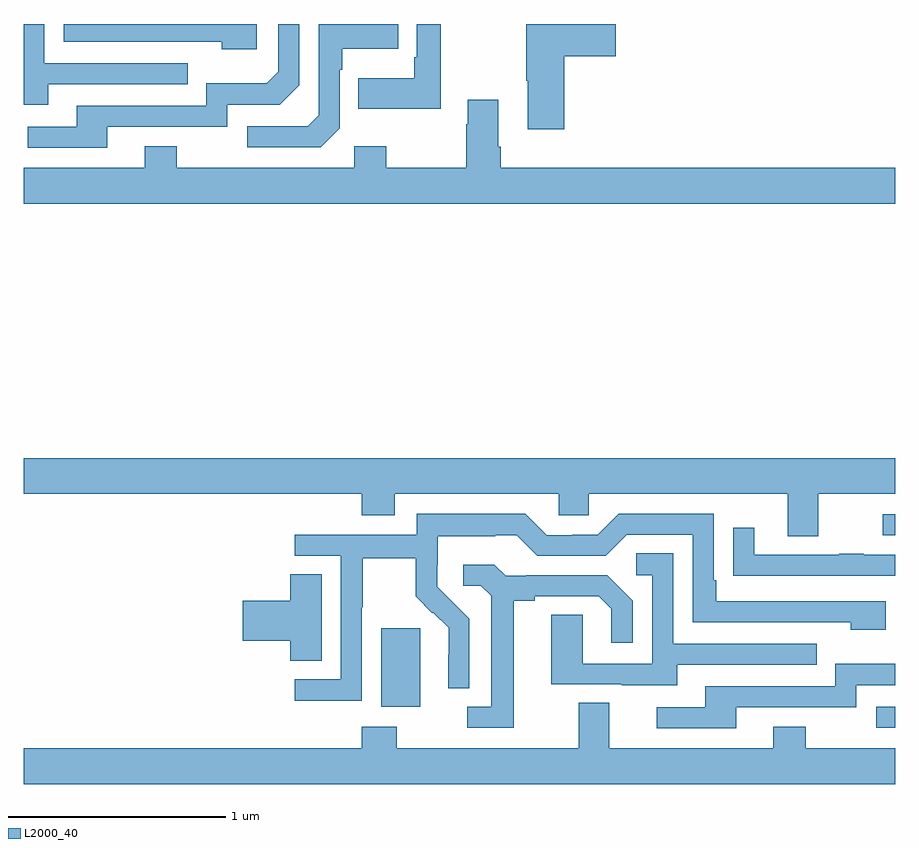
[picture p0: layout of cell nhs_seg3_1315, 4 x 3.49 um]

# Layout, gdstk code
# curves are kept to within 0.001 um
import gdstk
lib = gdstk.Library(unit=1e-6, precision=1e-09)
def R(c, l, rs):  # rectangles x0, y0, x1, y1
    for r in rs: c.add(gdstk.rectangle(r[:2], r[2:], *l))
def P(c, l, *ps):  # polygons
    for p in ps: c.add(gdstk.Polygon(p, *l))
L2000_40 = (2000, 40)

nhs_seg3_1315 = lib.new_cell('nhs_seg3_1315')
R(nhs_seg3_1315, L2000_40, [(182.913,705.171,183,705.267), (180.641,705.266,180.82,705.627), (182.943,706.053,183,706.149)])
P(nhs_seg3_1315, L2000_40, [(179.113,708.123),(179.753,708.123),(179.753,708.219),(179.094,708.219),(179.094,708.4),(179,708.4),(179,708.029),(179.113,708.029)],
  [(180.913,708.4),(180.804,708.4),(180.804,708.247),(180.792,708.247),(180.792,708.151),(180.535,708.151),(180.535,708.011),(180.913,708.011)],
  [(179.383,707.928),(179.934,707.928),(179.934,708.03),(180.174,708.03),(180.264,708.12),(180.264,708.4),(180.168,708.4),(180.168,708.18),(180.115,708.127),(179.838,708.127),(179.838,708.024),(179.243,708.024),(179.243,707.928),(179.019,707.928),(179.019,707.832),(179.383,707.832)],
  [(181.481,708.251),(181.717,708.251),(181.717,708.398),(181.481,708.398),(181.481,708.4),(181.306,708.4),(181.306,708.139),(181.313,708.139),(181.313,707.916),(181.481,707.916)],
  [(180.07,708.4),(179.184,708.4),(179.184,708.318),(179.909,708.318),(179.909,708.284),(180.07,708.284)],
  [(180.45,707.922),(180.45,708.191),(180.463,708.191),(180.463,708.287),(180.719,708.287),(180.719,708.4),(180.354,708.4),(180.354,707.982),(180.303,707.931),(180.027,707.931),(180.027,707.835),(180.363,707.835)],
  [(183,707.74),(181.19,707.74),(181.19,707.836),(181.177,707.836),(181.177,708.052),(181.037,708.052),(181.037,707.939),(181.03,707.939),(181.03,707.74),(180.663,707.74),(180.663,707.839),(180.516,707.839),(180.516,707.74),(179.703,707.74),(179.703,707.839),(179.555,707.839),(179.555,707.74),(179,707.74),(179,707.576),(183,707.576)],
  [(179,706.244),(180.551,706.244),(180.551,706.145),(180.703,706.145),(180.703,706.244),(181.455,706.244),(181.455,706.146),(181.593,706.146),(181.593,706.244),(182.507,706.244),(182.507,706.05),(182.647,706.05),(182.647,706.244),(183,706.244),(183,706.408),(179,706.408)],
  [(180.552,705.724),(180.555,705.724),(180.555,705.948),(180.799,705.948),(180.799,705.773),(180.876,705.696),(180.879,705.699),(180.95,705.629),(180.95,705.506),(180.948,705.506),(180.948,705.352),(181.044,705.352),(181.044,705.67),(180.898,705.818),(180.898,705.915),(180.9,705.915),(180.9,706.049),(181.163,706.049),(181.163,706.053),(181.263,706.053),(181.356,705.96),(181.671,705.96),(181.767,706.056),(182.07,706.056),(182.07,705.654),(182.795,705.654),(182.795,705.62),(182.956,705.62),(182.956,705.75),(182.179,705.75),(182.179,705.847),(182.166,705.847),(182.166,706.152),(181.731,706.152),(181.635,706.056),(181.517,706.056),(181.517,706.053),(181.401,706.053),(181.301,706.153),(180.804,706.153),(180.804,706.056),(180.243,706.056),(180.243,705.96),(180.456,705.96),(180.456,705.393),(180.243,705.393),(180.243,705.295),(180.552,705.295)],
  [(183,705.963),(182.855,705.963),(182.855,705.968),(182.743,705.968),(182.743,705.963),(182.353,705.963),(182.353,706.087),(182.257,706.087),(182.257,705.868),(182.359,705.868),(182.359,705.867),(183,705.867)],
  [(181.999,705.459),(182.639,705.459),(182.639,705.555),(181.98,705.555),(181.98,705.971),(181.812,705.971),(181.812,705.87),(181.884,705.87),(181.884,705.465),(181.566,705.465),(181.566,705.689),(181.421,705.689),(181.421,705.369),(181.745,705.369),(181.745,705.365),(181.999,705.365)],
  [(181.249,705.752),(181.345,705.752),(181.345,705.774),(181.64,705.774),(181.697,705.717),(181.697,705.561),(181.794,705.561),(181.794,705.754),(181.678,705.87),(181.306,705.87),(181.306,705.867),(181.212,705.867),(181.16,705.919),(181.017,705.919),(181.017,705.822),(181.098,705.822),(181.145,705.775),(181.145,705.267),(181.035,705.267),(181.035,705.171),(181.249,705.171)],
  [(180.367,705.875),(180.224,705.875),(180.224,705.752),(180.006,705.752),(180.006,705.569),(180.224,705.569),(180.224,705.478),(180.367,705.478)],
  [(182.269,705.264),(182.82,705.264),(182.82,705.366),(183,705.366),(183,705.463),(182.724,705.463),(182.724,705.36),(182.129,705.36),(182.129,705.264),(181.905,705.264),(181.905,705.168),(182.269,705.168)],
  [(183,705.076),(182.589,705.076),(182.589,705.175),(182.441,705.175),(182.441,705.076),(181.687,705.076),(181.687,705.284),(181.547,705.284),(181.547,705.076),(180.711,705.076),(180.711,705.175),(180.551,705.175),(180.551,705.076),(179,705.076),(179,704.912),(183,704.912)])

lib.write_gds('nhs_seg3_1315.gds')
